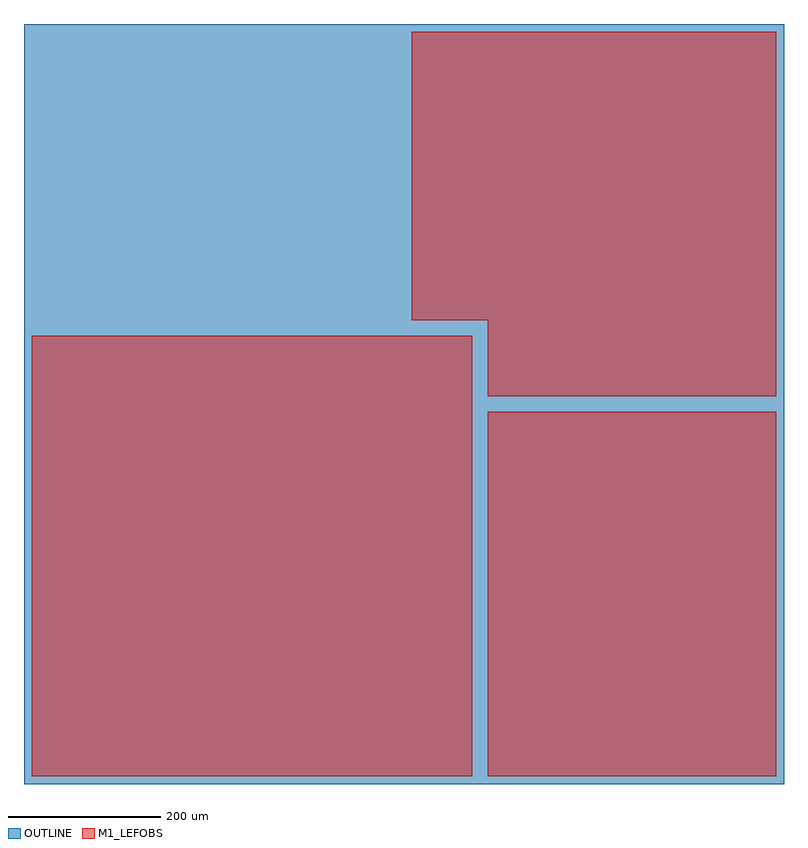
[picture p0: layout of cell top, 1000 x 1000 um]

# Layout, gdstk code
import gdstk
lib = gdstk.Library(unit=1e-6, precision=1e-09)
def R(c, l, rs):  # rectangles x0, y0, x1, y1
    for r in rs: c.add(gdstk.rectangle(r[:2], r[2:], *l))
def P(c, l, *ps):  # polygons
    for p in ps: c.add(gdstk.Polygon(p, *l))
OUTLINE = (1, 0)
M1_LEFOBS = (3, 0)

c_c = lib.new_cell('c')
P(c_c, OUTLINE, [(600,500),(600,600),(500,600),(500,1000),(1000,1000),(1000,500)])
P(c_c, M1_LEFOBS, [(610,510),(610,610),(510,610),(510,990),(990,990),(990,510)])

c_b = lib.new_cell('b')
R(c_b, OUTLINE, [(600,0,1000,500)])
R(c_b, M1_LEFOBS, [(610,10,990,490)])

c_a = lib.new_cell('a')
R(c_a, OUTLINE, [(0,0,600,600)])
R(c_a, M1_LEFOBS, [(10,10,590,590)])

top = lib.new_cell('top')
R(top, OUTLINE, [(0,0,1000,1000)])
top.add(gdstk.Reference(c_c, (0,0)))
top.add(gdstk.Reference(c_b, (0,0)))
top.add(gdstk.Reference(c_a, (0,0)))

lib.write_gds('top.gds')
